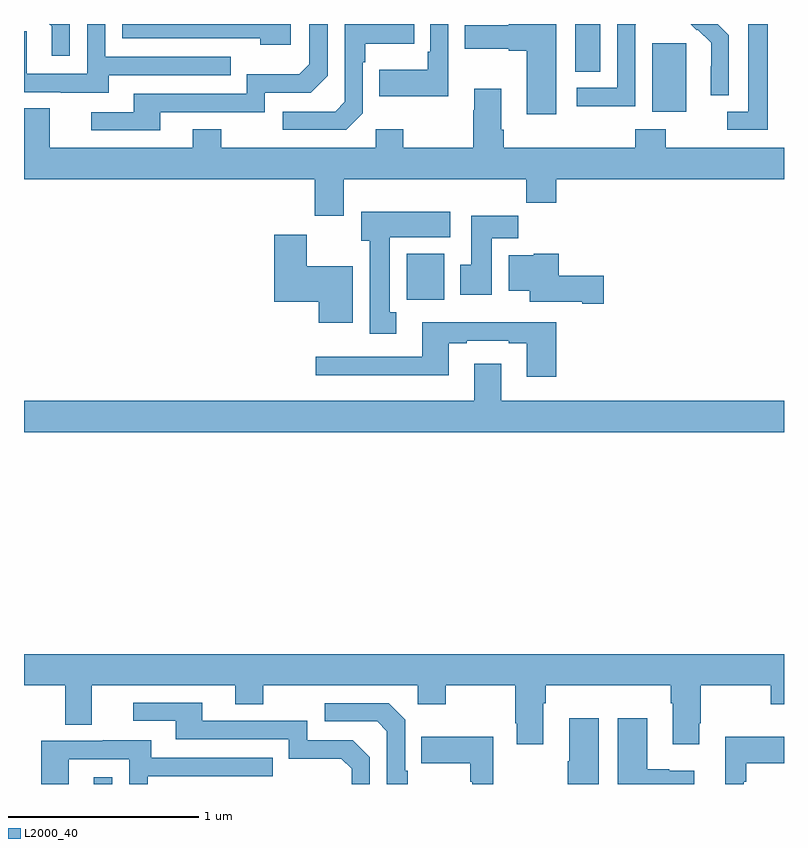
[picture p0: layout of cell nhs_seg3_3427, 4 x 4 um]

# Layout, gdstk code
import gdstk
lib = gdstk.Library(unit=1e-6, precision=1e-09)
def R(c, l, rs):  # rectangles x0, y0, x1, y1
    for r in rs: c.add(gdstk.rectangle(r[:2], r[2:], *l))
def P(c, l, *ps):  # polygons
    for p in ps: c.add(gdstk.Polygon(p, *l))
L2000_40 = (2000, 40)

nhs_seg3_3427 = lib.new_cell('nhs_seg3_3427')
R(nhs_seg3_3427, L2000_40, [(289.367,696.4,289.464,696.436), (291.014,698.948,291.211,699.19), (292.307,699.938,292.486,700.299), (291.902,700.15,292.033,700.4)])
P(nhs_seg3_3427, L2000_40, [(291.802,700.4),(291.551,700.4),(291.551,700.393),(291.321,700.393),(291.321,700.271),(291.551,700.271),(291.551,700.259),(291.647,700.259),(291.647,699.924),(291.802,699.924)],
  [(291.234,700.4),(291.138,700.4),(291.138,700.255),(291.126,700.255),(291.126,700.159),(290.869,700.159),(290.869,700.019),(291.234,700.019)],
  [(292.71,700.342),(292.652,700.4),(292.51,700.4),(292.542,700.368),(292.545,700.371),(292.616,700.301),(292.616,700.178),(292.614,700.178),(292.614,700.024),(292.71,700.024)],
  [(292.218,700.396),(292.221,700.396),(292.221,700.4),(292.122,700.4),(292.122,700.065),(291.909,700.065),(291.909,699.967),(292.218,699.967)],
  [(292.915,700.4),(292.811,700.4),(292.811,699.939),(292.701,699.939),(292.701,699.843),(292.915,699.843)],
  [(290.784,699.93),(290.784,700.199),(290.797,700.199),(290.797,700.295),(291.053,700.295),(291.053,700.4),(290.688,700.4),(290.688,699.99),(290.637,699.939),(290.361,699.939),(290.361,699.843),(290.697,699.843)],
  [(289.242,700.4),(289.134,700.4),(289.145,700.389),(289.145,700.233),(289.242,700.233)],
  [(289.717,699.936),(290.268,699.936),(290.268,700.038),(290.508,700.038),(290.598,700.128),(290.598,700.4),(290.502,700.4),(290.502,700.188),(290.449,700.135),(290.172,700.135),(290.172,700.032),(289.577,700.032),(289.577,699.936),(289.353,699.936),(289.353,699.84),(289.717,699.84)],
  [(290.404,700.4),(289.518,700.4),(289.518,700.326),(290.243,700.326),(290.243,700.292),(290.404,700.292)],
  [(289.447,700.131),(290.087,700.131),(290.087,700.227),(289.428,700.227),(289.428,700.4),(289.332,700.4),(289.332,700.137),(289.014,700.137),(289.014,700.361),(289,700.361),(289,700.041),(289.193,700.041),(289.193,700.037),(289.447,700.037)],
  [(290.683,699.584),(291.643,699.584),(291.643,699.46),(291.8,699.46),(291.8,699.584),(293,699.584),(293,699.748),(292.377,699.748),(292.377,699.847),(292.217,699.847),(292.217,699.748),(291.524,699.748),(291.524,699.844),(291.511,699.844),(291.511,700.06),(291.371,700.06),(291.371,699.947),(291.364,699.947),(291.364,699.748),(290.997,699.748),(290.997,699.847),(290.85,699.847),(290.85,699.748),(290.037,699.748),(290.037,699.847),(289.889,699.847),(289.889,699.748),(289.135,699.748),(289.135,699.956),(289,699.956),(289,699.584),(290.531,699.584),(290.531,699.39),(290.683,699.39)],
  [(290.959,698.882),(290.926,698.882),(290.926,699.278),(291.244,699.278),(291.244,699.412),(290.774,699.412),(290.774,699.258),(290.819,699.258),(290.819,698.769),(290.959,698.769)],
  [(291.463,699.272),(291.602,699.272),(291.602,699.391),(291.353,699.391),(291.353,699.132),(291.296,699.132),(291.296,698.976),(291.463,698.976)],
  [(290.731,699.124),(290.488,699.124),(290.488,699.292),(290.318,699.292),(290.318,698.939),(290.552,698.939),(290.552,698.828),(290.731,698.828)],
  [(292.051,699.074),(291.815,699.074),(291.815,699.19),(291.684,699.19),(291.684,699.184),(291.551,699.184),(291.551,698.996),(291.662,698.996),(291.662,698.939),(291.938,698.939),(291.938,698.927),(292.051,698.927)],
  [(291.8,698.83),(291.095,698.83),(291.095,698.649),(290.535,698.649),(290.535,698.552),(291.235,698.552),(291.235,698.721),(291.331,698.721),(291.331,698.733),(291.551,698.733),(291.551,698.721),(291.647,698.721),(291.647,698.544),(291.8,698.544)],
  [(293,698.416),(291.511,698.416),(291.511,698.611),(291.371,698.611),(291.371,698.416),(289,698.416),(289,698.252),(293,698.252)],
  [(291.733,696.824),(291.746,696.824),(291.746,696.92),(292.403,696.92),(292.403,696.824),(292.415,696.824),(292.415,696.609),(292.555,696.609),(292.555,696.721),(292.563,696.721),(292.563,696.92),(292.93,696.92),(292.93,696.821),(293,696.821),(293,697.084),(289,697.084),(289,696.92),(289.217,696.92),(289.217,696.712),(289.357,696.712),(289.357,696.92),(290.111,696.92),(290.111,696.821),(290.259,696.821),(290.259,696.92),(291.072,696.92),(291.072,696.821),(291.219,696.821),(291.219,696.92),(291.586,696.92),(291.586,696.721),(291.593,696.721),(291.593,696.609),(291.733,696.609)],
  [(290.82,696.54),(290.73,696.63),(290.49,696.63),(290.49,696.732),(289.939,696.732),(289.939,696.828),(289.575,696.828),(289.575,696.732),(289.799,696.732),(289.799,696.636),(290.394,696.636),(290.394,696.533),(290.671,696.533),(290.724,696.48),(290.724,696.4),(290.82,696.4)],
  [(291.019,696.469),(291.006,696.469),(291.006,696.738),(290.919,696.825),(290.583,696.825),(290.583,696.729),(290.859,696.729),(290.91,696.678),(290.91,696.4),(291.019,696.4)],
  [(292.024,696.745),(291.869,696.745),(291.869,696.521),(291.862,696.521),(291.862,696.4),(292.024,696.4)],
  [(292.528,696.469),(292.395,696.469),(292.395,696.477),(292.279,696.477),(292.279,696.745),(292.124,696.745),(292.124,696.4),(292.528,696.4)],
  [(291.469,696.649),(291.091,696.649),(291.091,696.509),(291.348,696.509),(291.348,696.413),(291.36,696.413),(291.36,696.4),(291.469,696.4)],
  [(292.788,696.413),(292.801,696.413),(292.801,696.509),(293,696.509),(293,696.649),(292.691,696.649),(292.691,696.4),(292.788,696.4)],
  [(289.236,696.531),(289.554,696.531),(289.554,696.4),(289.65,696.4),(289.65,696.441),(290.309,696.441),(290.309,696.537),(289.669,696.537),(289.669,696.631),(289.415,696.631),(289.415,696.627),(289.091,696.627),(289.091,696.4),(289.236,696.4)])

lib.write_gds('nhs_seg3_3427.gds')
